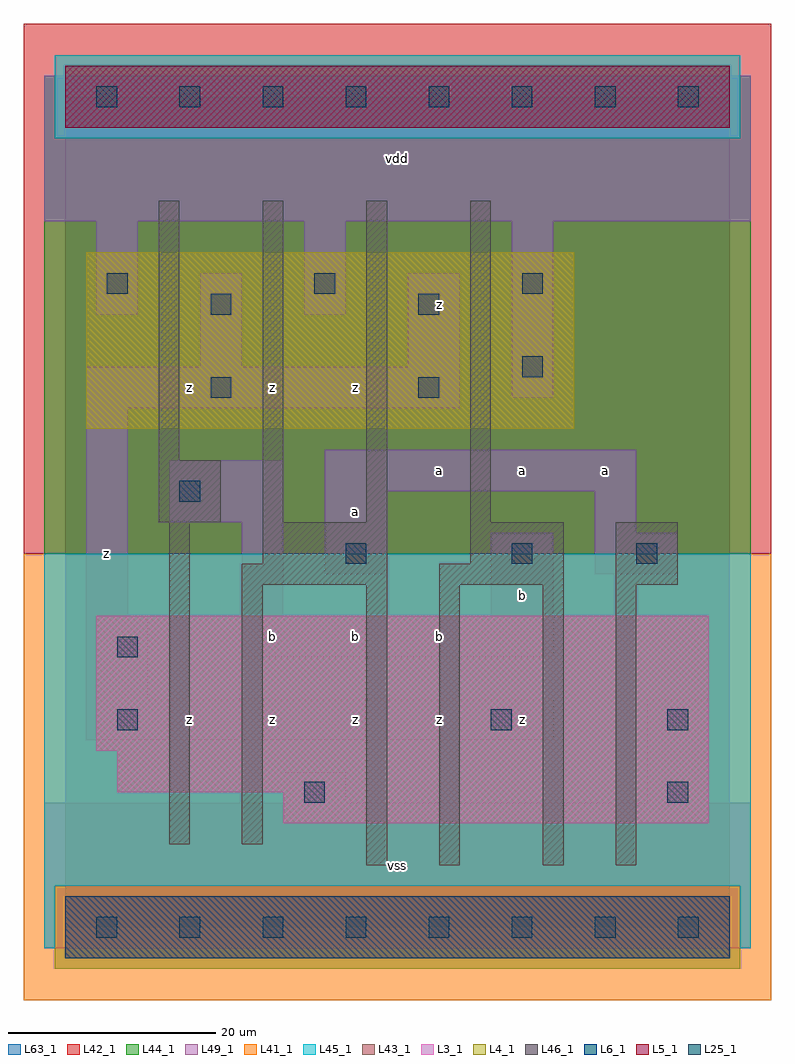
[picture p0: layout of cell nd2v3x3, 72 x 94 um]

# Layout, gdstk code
import gdstk
lib = gdstk.Library(unit=1e-6, precision=1e-09)
def R(c, l, rs):  # rectangles x0, y0, x1, y1
    for r in rs: c.add(gdstk.rectangle(r[:2], r[2:], *l))
def A(c, l, x, y, w, h, nx, ny, dx, dy):  # array of equal rectangles
    R(c, l, [(x+i*dx, y+j*dy, x+i*dx+w, y+j*dy+h) for i in range(nx) for j in range(ny)])
L3_1 = (3, 1)
L4_1 = (4, 1)
L5_1 = (5, 1)
L6_1 = (6, 1)
L25_1 = (25, 1)
L41_1 = (41, 1)
L42_1 = (42, 1)
L43_1 = (43, 1)
L44_1 = (44, 1)
L45_1 = (45, 1)
L46_1 = (46, 1)
L49_1 = (49, 1)
L63_1 = (63, 1)

nd2v3x3 = lib.new_cell('nd2v3x3')
R(nd2v3x3, L3_1, [(21,10,62,13), (5,13,62,17), (3,17,62,30)])
R(nd2v3x3, L4_1, [(2,48,49,65)])
R(nd2v3x3, L5_1, [(0,77,64,83)])
R(nd2v3x3, L6_1, [(0,-3,64,3), (0,-3,64,3)])
A(nd2v3x3, L25_1, 3, -1, 2, 2, 8, 2, 8, 80)
A(nd2v3x3, L25_1, 4, 61, 2, 2, 3, 1, 20, 0)
R(nd2v3x3, L25_1, [(23,12,25,14), (58,12,60,14), (5,19,7,21), (41,19,43,21), (58,19,60,21), (5,26,7,28), (27,35,29,37), (43,35,45,37), (55,35,57,37), (11,41,13,43), (14,51,16,53), (34,51,36,53), (44,53,46,55), (14,59,16,61), (34,59,36,61)])
R(nd2v3x3, L41_1, [(-4,-7,68,36)])
R(nd2v3x3, L42_1, [(-4,36,68,87)])
R(nd2v3x3, L43_1, [(0,-3,64,3), (21,10,62,13), (5,13,62,17), (3,17,62,30), (2,48,49,65), (0,77,64,83)])
R(nd2v3x3, L44_1, [(-1,-4,65,4), (-2,36,66,76), (-2,76,-1,82), (65,76,66,82)])
R(nd2v3x3, L45_1, [(-2,-2,-1,4), (65,-2,66,4), (-2,4,66,36), (-1,76,65,84)])
A(nd2v3x3, L46_1, 19, 39, 2, 31, 3, 1, 10, 0)
R(nd2v3x3, L46_1, [(29,6,31,33), (36,6,38,33), (46,6,48,33), (53,6,55,33), (10,8,12,39), (17,8,19,33), (17,33,31,35), (36,33,48,35), (53,33,59,39), (19,35,31,39), (39,35,48,39), (9,39,15,45), (9,45,11,70)])
R(nd2v3x3, L49_1, [(-2,-2,66,12), (21,12,27,15), (56,12,62,22), (2,18,47,22), (2,22,8,30), (17,26,47,30), (2,30,6,50), (17,30,21,39), (41,30,47,38), (25,34,31,42), (51,34,59,38), (51,38,55,42), (10,39,21,45), (25,42,55,46), (2,50,38,54), (43,51,47,68), (13,54,17,63), (33,54,38,63), (3,59,7,68), (23,59,27,68), (-2,68,66,82)])
R(nd2v3x3, L63_1, [(0,0,64,80)])
nd2v3x3.add(gdstk.Label('z', (4,36), layer=49, texttype=1))
nd2v3x3.add(gdstk.Label('z', (12,20), layer=49, texttype=1))
nd2v3x3.add(gdstk.Label('z', (20,20), layer=49, texttype=1))
nd2v3x3.add(gdstk.Label('b', (20,28), layer=49, texttype=1))
nd2v3x3.add(gdstk.Label('z', (20,52), layer=49, texttype=1))
nd2v3x3.add(gdstk.Label('z', (12,52), layer=49, texttype=1))
nd2v3x3.add(gdstk.Label('vss', (32,6), layer=49, texttype=1))
nd2v3x3.add(gdstk.Label('z', (28,20), layer=49, texttype=1))
nd2v3x3.add(gdstk.Label('b', (28,28), layer=49, texttype=1))
nd2v3x3.add(gdstk.Label('z', (36,20), layer=49, texttype=1))
nd2v3x3.add(gdstk.Label('b', (36,28), layer=49, texttype=1))
nd2v3x3.add(gdstk.Label('a', (28,40), layer=49, texttype=1))
nd2v3x3.add(gdstk.Label('a', (36,44), layer=49, texttype=1))
nd2v3x3.add(gdstk.Label('z', (28,52), layer=49, texttype=1))
nd2v3x3.add(gdstk.Label('z', (36,60), layer=49, texttype=1))
nd2v3x3.add(gdstk.Label('vdd', (32,74), layer=49, texttype=1))
nd2v3x3.add(gdstk.Label('z', (44,20), layer=49, texttype=1))
nd2v3x3.add(gdstk.Label('b', (44,32), layer=49, texttype=1))
nd2v3x3.add(gdstk.Label('a', (44,44), layer=49, texttype=1))
nd2v3x3.add(gdstk.Label('a', (52,44), layer=49, texttype=1))

lib.write_gds('nd2v3x3.gds')
